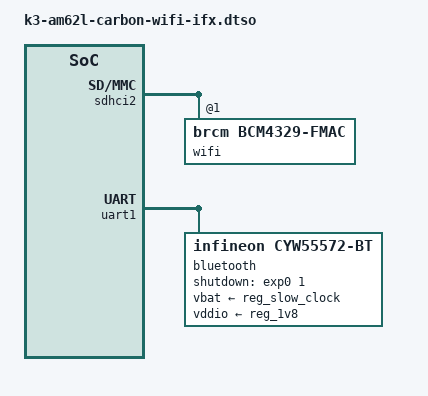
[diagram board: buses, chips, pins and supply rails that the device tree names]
// SPDX-License-Identifier: (GPL-2.0+ OR MIT)
/*
 * SDIO LWBxx & IFxxx module
 *
 * Copyright (C) 2024 Ezurio LLC
 */

/dts-v1/;
/plugin/;

#include <dt-bindings/gpio/gpio.h>

&reg_wifi_en {
	startup-delay-us = <250000>;
	off-on-delay-us = <100>;
};

&sdhci2 { /* SDIO_B  WIFI */
	status = "okay";

	#address-cells = <1>;
	#size-cells = <0>;

	wifi@1 {
		reg = <1>;
		compatible = "brcm,bcm4329-fmac";
	};
};

&uart1 {
	status = "okay";

	bluetooth {
		compatible = "infineon,cyw55572-bt";
		vbat-supply = <&reg_slow_clock>;
		vddio-supply = <&reg_1v8>;
		brcm,requires-autobaud-mode;
		max-speed = <3000000>;
		shutdown-gpios = <&exp0 1 GPIO_ACTIVE_HIGH>;
	};
};
